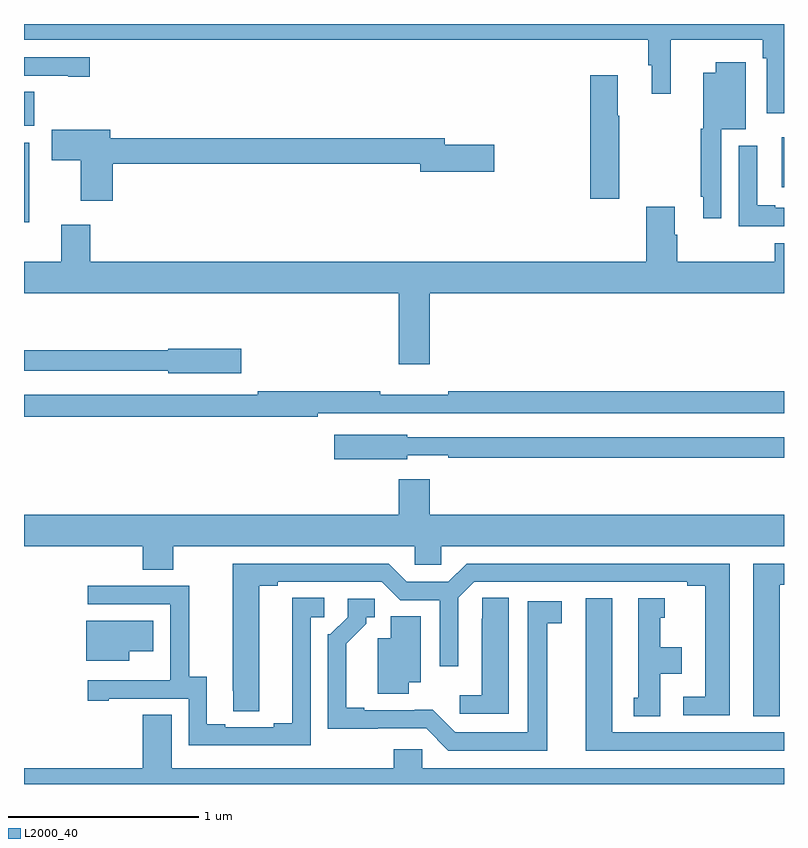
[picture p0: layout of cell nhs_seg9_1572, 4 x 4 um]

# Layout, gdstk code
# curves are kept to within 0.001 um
import gdstk
lib = gdstk.Library(unit=1e-6, precision=1e-09)
def R(c, l, rs):  # rectangles x0, y0, x1, y1
    for r in rs: c.add(gdstk.rectangle(r[:2], r[2:], *l))
def P(c, l, *ps):  # polygons
    for p in ps: c.add(gdstk.Polygon(p, *l))
L2000_40 = (2000, 40)

nhs_seg9_1572 = lib.new_cell('nhs_seg9_1572')
R(nhs_seg9_1572, L2000_40, [(199,1199.457,199.027,1199.875), (202.988,1199.642,203,1199.905), (199,1199.964,199.055,1200.143)])
P(nhs_seg9_1572, L2000_40, [(203,1200.5),(199,1200.5),(199,1200.416),(202.285,1200.416),(202.285,1200.282),(202.304,1200.282),(202.304,1200.132),(202.404,1200.132),(202.404,1200.416),(202.888,1200.416),(202.888,1200.32),(202.908,1200.32),(202.908,1200.03),(203,1200.03)],
  [(199.345,1200.324),(199,1200.324),(199,1200.228),(199.232,1200.228),(199.232,1200.223),(199.345,1200.223)],
  [(202.671,1199.945),(202.798,1199.945),(202.798,1200.298),(202.64,1200.298),(202.64,1200.244),(202.574,1200.244),(202.574,1199.949),(202.563,1199.949),(202.563,1199.59),(202.574,1199.59),(202.574,1199.478),(202.671,1199.478)],
  [(202.134,1200.016),(202.126,1200.016),(202.126,1200.229),(201.98,1200.229),(201.98,1199.58),(202.134,1199.58)],
  [(199.466,1199.764),(201.086,1199.764),(201.086,1199.722),(201.475,1199.722),(201.475,1199.864),(201.214,1199.864),(201.214,1199.9),(199.453,1199.9),(199.453,1199.944),(199.146,1199.944),(199.146,1199.782),(199.298,1199.782),(199.298,1199.571),(199.466,1199.571)],
  [(203,1199.532),(202.954,1199.532),(202.954,1199.545),(202.858,1199.545),(202.858,1199.86),(202.761,1199.86),(202.761,1199.436),(203,1199.436)],
  [(199.349,1199.443),(199.196,1199.443),(199.196,1199.248),(199,1199.248),(199,1199.084),(200.972,1199.084),(200.972,1198.71),(201.136,1198.71),(201.136,1199.084),(203,1199.084),(203,1199.346),(202.952,1199.346),(202.952,1199.248),(202.439,1199.248),(202.439,1199.39),(202.426,1199.39),(202.426,1199.539),(202.274,1199.539),(202.274,1199.248),(199.349,1199.248)],
  [(200.143,1198.791),(199.758,1198.791),(199.758,1198.783),(199,1198.783),(199,1198.674),(199.758,1198.674),(199.758,1198.661),(200.143,1198.661)],
  [(200.546,1198.452),(203,1198.452),(203,1198.568),(201.232,1198.568),(201.232,1198.549),(200.876,1198.549),(200.876,1198.568),(200.23,1198.568),(200.23,1198.548),(199,1198.548),(199,1198.432),(200.546,1198.432)],
  [(201.018,1198.23),(201.232,1198.23),(201.232,1198.218),(203,1198.218),(203,1198.326),(201.018,1198.326),(201.018,1198.339),(200.634,1198.339),(200.634,1198.21),(201.018,1198.21)],
  [(199.785,1197.752),(201.057,1197.752),(201.057,1197.654),(201.195,1197.654),(201.195,1197.752),(203,1197.752),(203,1197.916),(201.136,1197.916),(201.136,1198.105),(200.972,1198.105),(200.972,1197.916),(199,1197.916),(199,1197.752),(199.625,1197.752),(199.625,1197.628),(199.785,1197.628)],
  [(202.978,1197.549),(203,1197.549),(203,1197.66),(202.838,1197.66),(202.838,1196.857),(202.978,1196.857)],
  [(202.714,1197.66),(201.329,1197.66),(201.233,1197.564),(201.015,1197.564),(200.919,1197.66),(200.099,1197.66),(200.1,1196.884),(200.239,1196.884),(200.239,1197.544),(200.335,1197.544),(200.335,1197.564),(200.883,1197.564),(200.979,1197.468),(201.189,1197.468),(201.189,1197.12),(201.285,1197.12),(201.285,1197.48),(201.369,1197.564),(202.49,1197.564),(202.49,1197.544),(202.586,1197.544),(202.586,1196.958),(202.47,1196.958),(202.47,1196.862),(202.714,1196.862)],
  [(200.508,1197.378),(200.581,1197.378),(200.581,1197.479),(200.411,1197.479),(200.411,1196.819),(200.315,1196.819),(200.315,1196.799),(200.059,1196.799),(200.059,1196.814),(199.963,1196.814),(199.963,1197.065),(199.869,1197.065),(199.869,1197.543),(199.335,1197.543),(199.335,1197.447),(199.77,1197.447),(199.77,1197.046),(199.769,1197.046),(199.769,1197.045),(199.335,1197.045),(199.335,1196.937),(199.447,1196.937),(199.447,1196.949),(199.866,1196.949),(199.866,1196.703),(200.508,1196.703)],
  [(201.55,1197.479),(201.411,1197.479),(201.411,1197.371),(201.41,1197.371),(201.41,1196.968),(201.294,1196.968),(201.294,1196.871),(201.55,1196.871)],
  [(202.348,1197.08),(202.462,1197.08),(202.462,1197.22),(202.348,1197.22),(202.348,1197.375),(202.372,1197.375),(202.372,1197.478),(202.232,1197.478),(202.232,1196.955),(202.208,1196.955),(202.208,1196.857),(202.348,1196.857)],
  [(203,1196.772),(202.096,1196.772),(202.096,1197.478),(201.956,1197.478),(201.956,1196.676),(203,1196.676)],
  [(201.754,1197.346),(201.829,1197.346),(201.829,1197.462),(201.65,1197.462),(201.65,1196.772),(201.27,1196.772),(201.152,1196.89),(200.791,1196.889),(200.791,1196.902),(200.695,1196.902),(200.695,1197.238),(200.8,1197.343),(200.8,1197.378),(200.845,1197.378),(200.845,1197.474),(200.703,1197.474),(200.703,1197.378),(200.613,1197.288),(200.598,1197.288),(200.598,1196.792),(201.117,1196.793),(201.234,1196.676),(201.754,1196.676)],
  [(201.025,1197.035),(201.088,1197.035),(201.088,1197.383),(200.93,1197.383),(200.93,1197.268),(200.861,1197.268),(200.861,1196.974),(201.025,1196.974)],
  [(199.555,1197.2),(199.681,1197.2),(199.681,1197.358),(199.328,1197.358),(199.328,1197.149),(199.555,1197.149)],
  [(203,1196.584),(201.096,1196.584),(201.096,1196.682),(200.945,1196.682),(200.945,1196.584),(199.777,1196.584),(199.777,1196.864),(199.625,1196.864),(199.625,1196.584),(199,1196.584),(199,1196.5),(203,1196.5)])

lib.write_gds('nhs_seg9_1572.gds')
